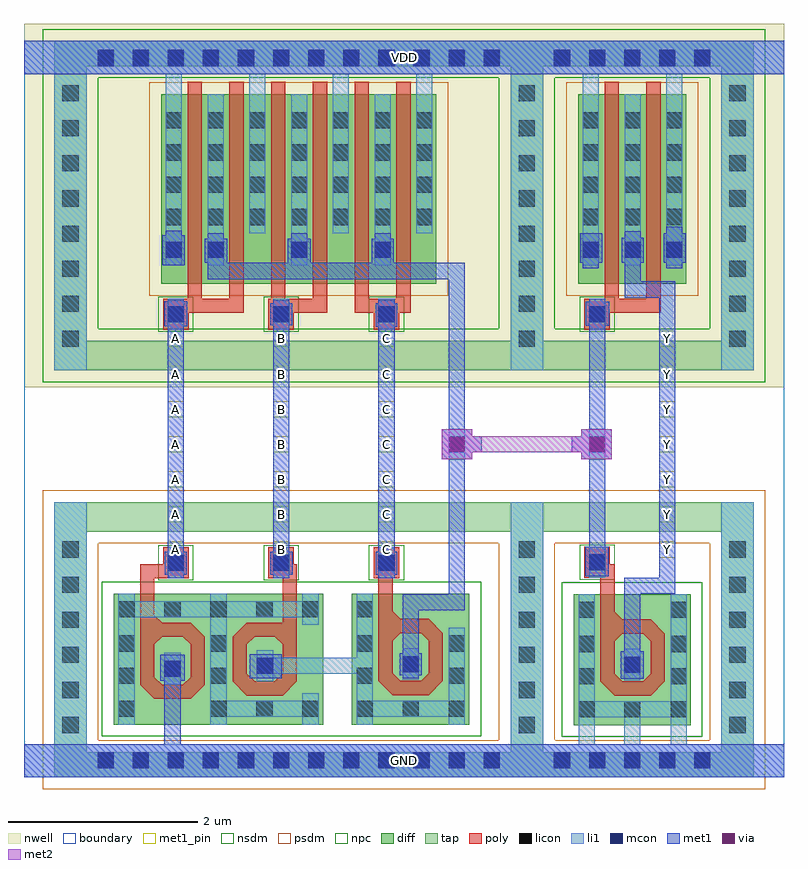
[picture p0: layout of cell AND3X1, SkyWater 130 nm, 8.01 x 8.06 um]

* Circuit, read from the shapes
.subckt AND3X1 A B C GND VDD Y
XM1 n1 A GND GND sky130_fd_pr__nfet_01v8 w=2.6 l=0.147
XM2 n1 B n2 GND sky130_fd_pr__nfet_01v8 w=2.52 l=0.1481
XM3 n2 C n3 GND sky130_fd_pr__nfet_01v8 w=2.56 l=0.147
XM4 GND n3 Y GND sky130_fd_pr__nfet_01v8 w=2.56 l=0.1485
XM5 n3 A VDD VDD sky130_fd_pr__pfet_01v8 w=2 l=0.15 m=2
XM6 n3 B VDD VDD sky130_fd_pr__pfet_01v8 w=2 l=0.15 m=2
XM7 n3 C VDD VDD sky130_fd_pr__pfet_01v8 w=2 l=0.15 m=2
XM8 Y n3 VDD VDD sky130_fd_pr__pfet_01v8 w=2 l=0.15 m=2
.ends

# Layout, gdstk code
from math import pi, radians
import gdstk
lib = gdstk.Library(unit=1e-6, precision=1e-09)
def R(c, l, rs):  # rectangles x0, y0, x1, y1
    for r in rs: c.add(gdstk.rectangle(r[:2], r[2:], *l))
def A(c, l, x, y, w, h, nx, ny, dx, dy):  # array of equal rectangles
    R(c, l, [(x+i*dx, y+j*dy, x+i*dx+w, y+j*dy+h) for i in range(nx) for j in range(ny)])
def P(c, l, *ps):  # polygons
    for p in ps: c.add(gdstk.Polygon(p, *l))
nwell = (64, 20)
diff = (65, 20)
tap = (65, 44)
poly = (66, 20)
licon = (66, 44)
li1 = (67, 20)
mcon = (67, 44)
met1_pin = (68, 16)
met1 = (68, 20)
via = (68, 44)
met2 = (69, 20)
nsdm = (93, 44)
psdm = (94, 20)
npc = (95, 20)
boundary = (235, 4)

diff_ring_side = lib.new_cell('diff_ring_side')
R(diff_ring_side, nwell, [(-0.435,3.93,0.435,7.75)])
R(diff_ring_side, tap, [(-0.17,-0.17,0.17,2.72), (-0.17,4.11,0.17,7.57)])
A(diff_ring_side, licon, -0.085, 0.285, 0.17, 0.17, 1, 6, 0, 0.37)
A(diff_ring_side, licon, -0.085, 4.355, 0.17, 0.17, 1, 8, 0, 0.37)
R(diff_ring_side, li1, [(-0.17,-0.17,0.17,2.72), (-0.17,4.11,0.17,7.57)])
R(diff_ring_side, met1, [(-0.17,-0.17,0.17,0.17), (-0.17,7.23,0.17,7.57)])
R(diff_ring_side, nsdm, [(-0.295,3.985,0.295,7.695)])
R(diff_ring_side, psdm, [(-0.295,-0.295,0.295,2.845)])

nmos_bottom = lib.new_cell('nmos_bottom')
R(nmos_bottom, diff, [(0,0,1.24,1.38)])
R(nmos_bottom, poly, [(0.43,0.27,0.81,0.42), (0.28,0.42,0.43,0.925), (0.81,0.42,0.96,0.925), (0.43,0.925,0.96,1.075), (0.81,1.075,0.96,1.51)])
P(nmos_bottom, poly, [(0.73,1.075),(0.81,1.075),(0.81,1.155)],
  [(0.28,0.925),(0.43,0.925),(0.43,1.075)],
  [(0.43,0.845),(0.43,0.925),(0.51,0.925)],
  [(0.73,0.925),(0.81,0.925),(0.81,0.845)],
  [(0.43,0.5),(0.43,0.42),(0.51,0.42)],
  [(0.73,0.42),(0.81,0.42),(0.81,0.5)],
  [(0.28,0.42),(0.43,0.42),(0.43,0.27)],
  [(0.81,0.27),(0.81,0.42),(0.96,0.42)])
A(nmos_bottom, licon, 0.05, 1.13, 0.17, 0.17, 3, 1, 0.485, 0)
R(nmos_bottom, licon, [(0.05,0.08,0.22,0.25), (1.02,0.08,1.19,0.25), (0.05,0.43,0.22,0.6), (1.02,0.43,1.19,0.6), (0.535,0.505,0.705,0.675), (0.05,0.77,0.22,0.94), (1.02,0.77,1.19,0.94)])
R(nmos_bottom, li1, [(0.05,0,0.22,1.13), (1.02,0,1.19,1.13), (0.535,0.425,0.705,0.755), (0.05,1.13,1.19,1.3), (0.05,1.3,0.22,1.38), (1.02,1.3,1.19,1.38)])
R(nmos_bottom, nsdm, [(-0.125,-0.125,1.365,1.505)])

pmos2 = lib.new_cell('pmos2')
R(pmos2, nwell, [(0.26,-2.18,1.76,0.18)])
R(pmos2, diff, [(0.44,-2,1.58,0)])
R(pmos2, poly, [(0.72,-2.305,1.31,-2.155), (0.72,-2.155,0.87,0.13), (1.16,-2.155,1.31,0.13)])
A(pmos2, licon, 0.49, -1.38, 0.17, 0.17, 3, 4, 0.44, 0.34)
R(pmos2, li1, [(0.49,-1.465,0.66,0.21), (0.93,-1.465,1.1,0), (1.37,-1.465,1.54,0.21)])
R(pmos2, psdm, [(0.315,-2.125,1.705,0.125)])

poly_li1_contact = lib.new_cell('poly_li1_contact')
R(poly_li1_contact, poly, [(-0.16,-0.14,0.17,0.13)])
R(poly_li1_contact, licon, [(-0.08,-0.09,0.09,0.08)])
R(poly_li1_contact, li1, [(-0.16,-0.09,0.17,0.08)])
R(poly_li1_contact, npc, [(-0.18,-0.19,0.19,0.18)])

nmos_side_left = lib.new_cell('nmos_side_left')
R(nmos_side_left, diff, [(0,0,1.24,1.38)])
R(nmos_side_left, poly, [(0.435,0.305,0.81,0.455), (0.285,0.455,0.435,0.925), (0.81,0.455,0.96,0.925), (0.435,0.925,0.96,1.075), (0.81,1.075,0.96,1.51)])
P(nmos_side_left, poly, [(0.285,0.925),(0.435,0.925),(0.435,1.075)],
  [(0.435,0.845),(0.435,0.925),(0.515,0.925)],
  [(0.73,0.925),(0.81,0.925),(0.81,0.845)],
  [(0.435,0.535),(0.435,0.455),(0.515,0.455)],
  [(0.73,0.455),(0.81,0.455),(0.81,0.535)],
  [(0.285,0.455),(0.435,0.455),(0.435,0.305)],
  [(0.81,0.305),(0.81,0.455),(0.96,0.455)])
A(nmos_side_left, licon, 0.05, 0.08, 0.17, 0.17, 3, 2, 0.485, 1.05)
R(nmos_side_left, licon, [(0.05,0.43,0.22,0.6), (0.54,0.535,0.71,0.705), (0.05,0.77,0.22,0.94)])
R(nmos_side_left, li1, [(0.05,0,0.22,0.08), (1.02,0,1.19,0.08), (0.05,0.08,1.19,0.25), (0.05,0.25,0.22,1.13), (1.02,0.25,1.19,0.33), (0.54,0.455,0.71,0.785), (1.02,1.05,1.19,1.13), (0.05,1.13,1.19,1.3), (0.05,1.3,0.22,1.38), (1.02,1.3,1.19,1.38)])
R(nmos_side_left, nsdm, [(-0.125,-0.125,1.365,1.505)])

nmos_top_trim1 = lib.new_cell('nmos_top_trim1')
R(nmos_top_trim1, diff, [(0,0,1.24,1.38)])
R(nmos_top_trim1, poly, [(0.43,0.31,0.81,0.46), (0.28,0.46,0.43,0.965), (0.81,0.46,0.96,0.965), (0.43,0.965,0.96,1.115), (0.81,1.115,0.96,1.545)])
P(nmos_top_trim1, poly, [(0.73,1.115),(0.81,1.115),(0.81,1.195)],
  [(0.28,0.965),(0.43,0.965),(0.43,1.115)],
  [(0.43,0.885),(0.43,0.965),(0.51,0.965)],
  [(0.73,0.965),(0.81,0.965),(0.81,0.885)],
  [(0.43,0.54),(0.43,0.46),(0.51,0.46)],
  [(0.73,0.46),(0.81,0.46),(0.81,0.54)],
  [(0.28,0.46),(0.43,0.46),(0.43,0.31)],
  [(0.81,0.31),(0.81,0.46),(0.96,0.46)])
A(nmos_top_trim1, licon, 0.05, 0.08, 0.17, 0.17, 3, 1, 0.485, 0)
R(nmos_top_trim1, licon, [(0.05,0.43,0.22,0.6), (1.02,0.43,1.19,0.6), (0.535,0.55,0.705,0.72), (0.05,0.77,0.22,0.94), (1.02,0.77,1.19,0.94), (1.02,1.13,1.19,1.3)])
R(nmos_top_trim1, li1, [(0.05,0,0.22,0.08), (1.02,0,1.19,0.08), (0.05,0.08,1.19,0.25), (0.05,0.25,0.22,1.02), (1.02,0.25,1.19,1.38), (0.535,0.47,0.705,0.805)])
R(nmos_top_trim1, nsdm, [(-0.125,-0.125,1.365,1.505)])

nand3x1_pcell = lib.new_cell('nand3x1_pcell')
R(nand3x1_pcell, nwell, [(0.435,3.93,4.375,5.28), (0.435,5.28,1.1,5.295), (1.395,5.28,4.375,5.495), (0.435,5.295,1.025,5.465), (1.145,5.295,1.315,5.465), (0.435,5.465,1.1,5.495), (0.435,5.495,4.375,7.75)])
A(nand3x1_pcell, diff, 1.445, 5.295, 0.17, 0.17, 3, 1, 0.88, 0)
R(nand3x1_pcell, diff, [(1.005,5.295,1.175,5.465)])
R(nand3x1_pcell, tap, [(0.17,-0.17,4.64,0.085), (0.17,2.41,4.64,2.72), (0.17,4.11,4.64,4.42), (0.17,7.315,4.64,7.57)])
R(nand3x1_pcell, poly, [(0.735,1.885,0.885,1.915), (2.235,1.885,2.385,1.915), (0.735,1.915,0.975,2.065), (2.355,1.915,2.385,2.065)])
A(nand3x1_pcell, licon, 0.285, -0.085, 0.17, 0.17, 12, 2, 0.37, 7.4)
A(nand3x1_pcell, licon, 1.445, 5.295, 0.17, 0.17, 3, 1, 0.88, 0)
R(nand3x1_pcell, licon, [(1.005,5.295,1.175,5.465)])
A(nand3x1_pcell, li1, 1.025, 1.995, 0.17, 0.17, 3, 2, 1.11, 2.62)
R(nand3x1_pcell, li1, [(0.17,-0.17,4.65,0.17), (0.99,0.88,1.16,1.05), (1.965,0.91,3.015,1.08), (3.5,0.925,3.67,1.095), (1.005,5.215,1.175,5.6), (1.445,5.215,1.615,5.56), (2.325,5.215,2.495,5.585), (3.205,5.215,3.375,5.56), (0.07,7.23,4.715,7.57)])
A(nand3x1_pcell, mcon, 0.285, -0.085, 0.17, 0.17, 12, 2, 0.37, 7.4)
A(nand3x1_pcell, mcon, 1.025, 1.995, 0.17, 0.17, 3, 2, 1.11, 2.62)
A(nand3x1_pcell, mcon, 1.445, 5.295, 0.17, 0.17, 3, 1, 0.88, 0)
R(nand3x1_pcell, mcon, [(0.99,0.88,1.16,1.05), (1.965,0.91,2.135,1.08), (3.5,0.925,3.67,1.095), (1.005,5.295,1.175,5.465)])
A(nand3x1_pcell, met1, 1.025, 1.915, 0.17, 0.04, 3, 1, 1.11, 0)
A(nand3x1_pcell, met1, 1.445, 5.495, 0.17, 0.06, 3, 1, 0.88, 0)
R(nand3x1_pcell, met1, [(0.17,-0.17,4.64,0.17), (0.99,0.17,1.16,0.835), (0.945,0.835,1.205,1.11), (1.89,0.865,2.225,1.115), (3.5,0.865,3.67,0.895), (3.47,0.895,3.7,1.125), (3.5,1.125,3.67,1.58), (3.5,1.58,4.155,1.75), (3.985,1.75,4.155,5.07), (0.995,1.955,1.225,2.195), (2.105,1.955,2.34,2.195), (3.215,1.955,3.445,2.195), (1.025,2.195,1.195,4.575), (2.135,2.195,2.305,4.585), (3.245,2.195,3.415,4.57), (3.215,4.57,3.445,4.815), (0.99,4.575,1.23,4.835), (2.105,4.585,2.335,4.815), (2.135,4.815,2.305,4.845), (3.245,4.815,3.415,4.845), (1.025,4.835,1.195,4.845), (1.445,5.07,4.155,5.24), (0.965,5.215,1.205,5.535), (1.415,5.24,1.65,5.495), (2.29,5.24,2.53,5.495), (3.175,5.24,3.405,5.495), (1.005,5.535,1.175,5.58), (0.17,7.23,4.64,7.57)])
R(nand3x1_pcell, nsdm, [(2.79,0.25,2.84,1.88), (0.045,3.985,4.765,4.545), (0.045,7.19,4.765,7.695)])
R(nand3x1_pcell, psdm, [(0.045,-0.295,4.765,0.21), (0.045,2.285,4.765,2.845), (0.88,5.17,1.74,5.59), (2.2,5.17,2.62,5.59), (3.08,5.17,3.5,5.59)])
nand3x1_pcell.add(gdstk.Reference(diff_ring_side, (0,0)))
nand3x1_pcell.add(gdstk.Reference(nmos_bottom, (1.695,0.375), rotation=pi, x_reflection=True))
nand3x1_pcell.add(gdstk.Reference(pmos2, (0.515,7.02)))
nand3x1_pcell.add(gdstk.Reference(poly_li1_contact, (1.115,4.705), rotation=3*pi/2))
nand3x1_pcell.add(gdstk.Reference(poly_li1_contact, (1.105,2.075), rotation=pi/2))
nand3x1_pcell.add(gdstk.Reference(nmos_side_left, (1.425,0.375)))
nand3x1_pcell.add(gdstk.Reference(pmos2, (1.395,7.02)))
nand3x1_pcell.add(gdstk.Reference(pmos2, (2.275,7.02)))
nand3x1_pcell.add(gdstk.Reference(poly_li1_contact, (2.215,2.075), rotation=pi/2))
nand3x1_pcell.add(gdstk.Reference(poly_li1_contact, (2.215,4.695), rotation=pi/2))
nand3x1_pcell.add(gdstk.Reference(nmos_top_trim1, (4.205,0.375), rotation=pi, x_reflection=True))
nand3x1_pcell.add(gdstk.Reference(poly_li1_contact, (3.325,2.075), rotation=pi/2))
nand3x1_pcell.add(gdstk.Reference(poly_li1_contact, (3.335,4.705), rotation=3*pi/2))
nand3x1_pcell.add(gdstk.Reference(diff_ring_side, (4.81,0)))

li1_m1_contact = lib.new_cell('li1_M1_contact')
R(li1_m1_contact, li1, [(-0.085,-0.165,0.085,0.165)])
R(li1_m1_contact, mcon, [(-0.085,-0.085,0.085,0.085)])
R(li1_m1_contact, met1, [(-0.115,-0.115,0.115,-0.085), (-0.265,-0.085,0.145,0.085), (-0.115,0.085,0.115,0.115)])

nmos_top = lib.new_cell('nmos_top')
R(nmos_top, diff, [(0,0,1.23,1.38)])
R(nmos_top, poly, [(0.42,0.31,0.8,0.46), (0.27,0.46,0.42,0.965), (0.8,0.46,0.95,0.965), (0.42,0.965,0.95,1.115), (0.8,1.115,0.95,1.54)])
P(nmos_top, poly, [(0.72,1.115),(0.8,1.115),(0.8,1.195)],
  [(0.27,0.965),(0.42,0.965),(0.42,1.115)],
  [(0.42,0.885),(0.42,0.965),(0.5,0.965)],
  [(0.72,0.965),(0.8,0.965),(0.8,0.885)],
  [(0.42,0.54),(0.42,0.46),(0.5,0.46)],
  [(0.72,0.46),(0.8,0.46),(0.8,0.54)],
  [(0.27,0.46),(0.42,0.46),(0.42,0.31)],
  [(0.8,0.31),(0.8,0.46),(0.95,0.46)])
R(nmos_top, licon, [(0.04,0.08,0.21,0.25), (0.53,0.08,0.7,0.25), (1.01,0.08,1.18,0.25), (0.04,0.43,0.21,0.6), (1.01,0.43,1.18,0.6), (0.53,0.55,0.7,0.72), (0.04,0.77,0.21,0.94), (1.01,0.77,1.18,0.94), (0.04,1.13,0.21,1.3), (1.01,1.13,1.18,1.3)])
R(nmos_top, li1, [(0.04,0,0.21,0.08), (1.01,0,1.18,0.08), (0.04,0.08,1.18,0.25), (0.04,0.25,0.21,1.38), (1.01,0.25,1.18,1.38), (0.53,0.47,0.7,0.805)])
R(nmos_top, nsdm, [(-0.125,-0.125,1.355,1.505)])

invx1_pcell = lib.new_cell('invx1_pcell')
R(invx1_pcell, nwell, [(-0.435,3.93,2.655,7.75)])
A(invx1_pcell, diff, 0.59, 5.295, 0.17, 0.17, 3, 1, 0.44, 0)
R(invx1_pcell, tap, [(0.17,-0.17,2.05,0.085), (0.17,2.41,2.05,2.72), (0.17,4.11,2.05,4.42), (0.17,7.315,2.05,7.57)])
R(invx1_pcell, poly, [(0.775,1.905,0.925,2.065)])
A(invx1_pcell, licon, 0.285, -0.085, 0.17, 0.17, 5, 2, 0.37, 7.4)
A(invx1_pcell, licon, 0.59, 5.295, 0.17, 0.17, 3, 1, 0.44, 0)
A(invx1_pcell, li1, 0.59, 5.215, 0.17, 0.37, 3, 1, 0.44, 0)
R(invx1_pcell, li1, [(-0.17,-0.17,2.33,0.17), (0.545,0.17,0.715,0.42), (1.025,0.17,1.195,0.45), (1.515,0.17,1.685,0.45), (1.025,0.92,1.195,1.09), (0.655,2,0.825,2.17), (0.655,4.615,0.825,4.785), (-0.17,7.23,2.39,7.57)])
A(invx1_pcell, mcon, 0.285, -0.085, 0.17, 0.17, 5, 2, 0.37, 7.4)
A(invx1_pcell, mcon, 0.59, 5.295, 0.17, 0.17, 3, 1, 0.44, 0)
R(invx1_pcell, mcon, [(1.025,0.92,1.195,1.09), (0.655,2,0.825,2.17), (0.655,4.615,0.825,4.785)])
R(invx1_pcell, met1, [(-0.17,-0.17,2.39,0.17), (0.99,0.86,1.23,1.15), (1.025,1.15,1.195,1.755), (1.025,1.755,1.565,1.925), (1.395,1.925,1.565,4.875), (0.615,1.94,0.865,2.25), (0.655,2.25,0.825,4.58), (0.62,4.58,0.87,4.83), (0.655,4.83,0.825,4.865), (1.03,4.875,1.565,5.045), (1.03,5.045,1.2,5.24), (0.59,5.185,0.76,5.24), (1.47,5.185,1.64,5.24), (0.56,5.24,0.795,5.555), (1,5.24,1.23,5.505), (1.44,5.24,1.675,5.555), (1.03,5.505,1.2,5.575), (1.47,5.555,1.64,5.62), (-0.17,7.23,2.39,7.57)])
R(invx1_pcell, nsdm, [(0.045,3.985,2.175,4.545), (0.045,7.19,2.175,7.695)])
R(invx1_pcell, psdm, [(0.045,-0.295,2.175,0.21), (0.045,2.285,2.175,2.845), (0.465,5.17,1.765,5.59)])
invx1_pcell.add(gdstk.Reference(poly_li1_contact, (0.735,2.08), rotation=pi/2))
invx1_pcell.add(gdstk.Reference(poly_li1_contact, (0.745,4.705), rotation=3*pi/2))
invx1_pcell.add(gdstk.Reference(pmos2, (0.1,7.02)))
invx1_pcell.add(gdstk.Reference(nmos_top, (1.725,0.37), rotation=pi, x_reflection=True))
invx1_pcell.add(gdstk.Reference(diff_ring_side, (0,0)))
invx1_pcell.add(gdstk.Reference(diff_ring_side, (2.22,0)))

and3x1_pcell = lib.new_cell('and3x1_pcell')
R(and3x1_pcell, met1, [(3.915,3.17,4.235,3.49), (5.385,3.17,5.705,3.49)])
R(and3x1_pcell, via, [(4,3.255,4.15,3.405), (5.47,3.255,5.62,3.405)])
R(and3x1_pcell, met2, [(3.915,3.17,4.235,3.245), (5.385,3.17,5.705,3.245), (3.915,3.245,5.705,3.415), (3.915,3.415,4.235,3.49), (5.385,3.415,5.705,3.49)])
and3x1_pcell.add(gdstk.Reference(nand3x1_pcell, (0,0)))
and3x1_pcell.add(gdstk.Reference(li1_m1_contact, (5.55,3.33)))
and3x1_pcell.add(gdstk.Reference(li1_m1_contact, (4.07,3.33), rotation=pi))
and3x1_pcell.add(gdstk.Reference(invx1_pcell, (4.81,0)))

and3x1 = lib.new_cell('AND3X1')
R(and3x1, nwell, [(0,4.11,0.055,7.41), (7.955,4.11,8.01,7.93), (0,7.41,0.22,7.76), (0.775,7.495,0.945,7.665), (0,7.76,0.055,7.93), (0,7.93,8.01,7.94)])
R(and3x1, tap, [(0.32,0,7.69,0.01), (0.32,7.75,7.69,7.76)])
R(and3x1, li1, [(0,0,8.01,0.35), (0,7.41,8.01,7.76)])
A(and3x1, met1_pin, 1.515, 2.315, 0.17, 0.17, 3, 7, 1.11, 0.37)
A(and3x1, met1_pin, 6.695, 2.315, 0.17, 0.17, 1, 7, 0, 0.37)
R(and3x1, met1_pin, [(0,0,8.01,0.35), (0,7.41,8.01,7.76)])
A(and3x1, met1, 1.515, 2.315, 0.17, 0.17, 3, 7, 1.11, 0.37)
A(and3x1, met1, 6.695, 2.315, 0.17, 0.17, 1, 7, 0, 0.37)
R(and3x1, met1, [(0,0,8.01,0.35), (0,7.41,8.01,7.76)])
R(and3x1, nsdm, [(0.195,7.625,7.815,7.885)])
R(and3x1, psdm, [(0.195,-0.125,7.815,0.135)])
R(and3x1, boundary, [(0,0,8.01,7.76)])
and3x1.add(gdstk.Reference(and3x1_pcell, (0.49,0.18)))
and3x1.add(gdstk.Label('Y', (6.78,4.62), layer=68, texttype=5))
and3x1.add(gdstk.Label('Y', (6.78,4.25), layer=68, texttype=5))
and3x1.add(gdstk.Label('Y', (6.78,3.88), layer=68, texttype=5))
and3x1.add(gdstk.Label('Y', (6.78,3.51), layer=68, texttype=5))
and3x1.add(gdstk.Label('Y', (6.78,3.14), layer=68, texttype=5))
and3x1.add(gdstk.Label('Y', (6.78,2.77), layer=68, texttype=5))
and3x1.add(gdstk.Label('Y', (6.78,2.4), layer=68, texttype=5))
and3x1.add(gdstk.Label('A', (1.6,2.4), layer=68, texttype=5))
and3x1.add(gdstk.Label('A', (1.6,2.77), layer=68, texttype=5))
and3x1.add(gdstk.Label('A', (1.6,3.14), layer=68, texttype=5))
and3x1.add(gdstk.Label('A', (1.6,3.51), layer=68, texttype=5))
and3x1.add(gdstk.Label('A', (1.6,3.88), layer=68, texttype=5))
and3x1.add(gdstk.Label('A', (1.6,4.25), layer=68, texttype=5))
and3x1.add(gdstk.Label('A', (1.6,4.62), layer=68, texttype=5))
and3x1.add(gdstk.Label('B', (2.71,2.4), layer=68, texttype=5))
and3x1.add(gdstk.Label('B', (2.71,2.77), layer=68, texttype=5))
and3x1.add(gdstk.Label('B', (2.71,3.14), layer=68, texttype=5))
and3x1.add(gdstk.Label('B', (2.71,3.51), layer=68, texttype=5))
and3x1.add(gdstk.Label('B', (2.71,3.88), layer=68, texttype=5))
and3x1.add(gdstk.Label('B', (2.71,4.25), layer=68, texttype=5))
and3x1.add(gdstk.Label('B', (2.71,4.62), layer=68, texttype=5))
and3x1.add(gdstk.Label('C', (3.82,2.4), layer=68, texttype=5))
and3x1.add(gdstk.Label('C', (3.82,2.77), layer=68, texttype=5))
and3x1.add(gdstk.Label('C', (3.82,3.14), layer=68, texttype=5))
and3x1.add(gdstk.Label('C', (3.82,3.51), layer=68, texttype=5))
and3x1.add(gdstk.Label('C', (3.82,3.88), layer=68, texttype=5))
and3x1.add(gdstk.Label('C', (3.82,4.25), layer=68, texttype=5))
and3x1.add(gdstk.Label('C', (3.82,4.62), layer=68, texttype=5))
and3x1.add(gdstk.Label('VDD', (4.005,7.585), layer=68, texttype=5))
and3x1.add(gdstk.Label('GND', (4.005,0.175), layer=68, texttype=5))

lib.write_gds('AND3X1.gds')
